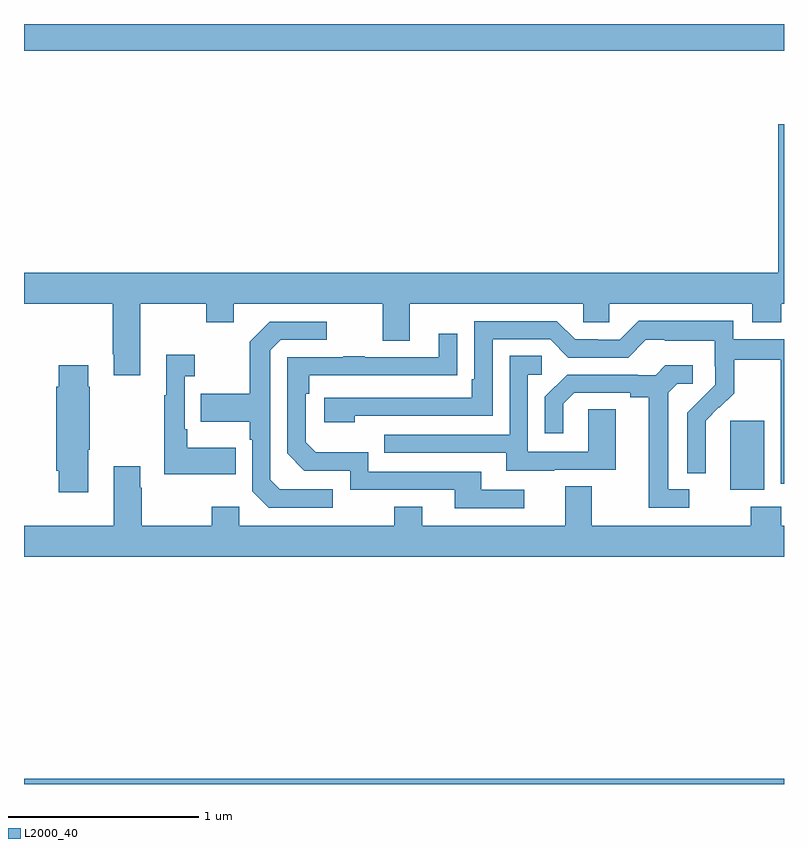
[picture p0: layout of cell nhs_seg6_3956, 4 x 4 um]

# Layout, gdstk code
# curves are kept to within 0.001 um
import gdstk
lib = gdstk.Library(unit=1e-6, precision=1e-09)
def R(c, l, rs):  # rectangles x0, y0, x1, y1
    for r in rs: c.add(gdstk.rectangle(r[:2], r[2:], *l))
def P(c, l, *ps):  # polygons
    for p in ps: c.add(gdstk.Polygon(p, *l))
L2000_40 = (2000, 40)

nhs_seg6_3956 = lib.new_cell('nhs_seg6_3956')
R(nhs_seg6_3956, L2000_40, [(345,919.5,349,919.528), (348.716,921.05,348.895,921.411), (345,923.36,349,923.5)])
P(nhs_seg6_3956, L2000_40, [(345,922.028),(345.466,922.028),(345.466,921.763),(345.473,921.763),(345.473,921.651),(345.613,921.651),(345.613,922.028),(345.958,922.028),(345.958,921.929),(346.105,921.929),(346.105,922.028),(346.889,922.028),(346.889,921.834),(347.029,921.834),(347.029,922.028),(347.943,922.028),(347.943,921.93),(348.081,921.93),(348.081,922.028),(348.833,922.028),(348.833,921.929),(348.986,921.929),(348.986,922.028),(349,922.028),(349,922.972),(348.971,922.972),(348.971,922.192),(345,922.192)],
  [(349,921.84),(348.732,921.84),(348.732,921.937),(348.235,921.937),(348.135,921.837),(348.02,921.837),(348.02,921.84),(347.901,921.84),(347.805,921.936),(347.37,921.936),(347.37,921.631),(347.357,921.631),(347.357,921.534),(346.581,921.534),(346.581,921.404),(346.742,921.404),(346.742,921.438),(347.466,921.438),(347.466,921.84),(347.769,921.84),(347.865,921.744),(348.18,921.744),(348.273,921.837),(348.373,921.837),(348.373,921.833),(348.636,921.833),(348.636,921.699),(348.638,921.699),(348.638,921.602),(348.492,921.454),(348.492,921.136),(348.588,921.136),(348.587,921.413),(348.657,921.483),(348.66,921.48),(348.737,921.557),(348.737,921.732),(348.982,921.732),(348.982,921.508),(348.984,921.508),(348.984,921.079),(349,921.079)],
  [(346.624,921.051),(346.347,921.051),(346.296,921.102),(346.296,921.783),(346.35,921.837),(346.594,921.837),(346.594,921.933),(346.293,921.933),(346.188,921.827),(346.188,921.555),(345.931,921.555),(345.931,921.407),(346.188,921.407),(346.188,921.311),(346.2,921.311),(346.2,921.042),(346.287,920.955),(346.624,920.955)],
  [(347.632,921.048),(347.407,921.048),(347.407,921.144),(346.812,921.144),(346.812,921.247),(346.535,921.247),(346.482,921.3),(346.482,921.554),(346.502,921.554),(346.502,921.651),(347.279,921.652),(347.279,921.871),(347.183,921.871),(347.183,921.747),(346.793,921.747),(346.793,921.752),(346.681,921.752),(346.681,921.747),(346.386,921.747),(346.386,921.24),(346.476,921.15),(346.716,921.15),(346.716,921.048),(347.267,921.048),(347.267,920.952),(347.632,920.952)],
  [(346.115,921.271),(345.859,921.271),(345.859,921.367),(345.846,921.367),(345.846,921.647),(345.898,921.647),(345.898,921.76),(345.749,921.76),(345.749,921.547),(345.738,921.547),(345.738,921.131),(346.115,921.131)],
  [(347.791,921.153),(348.115,921.153),(348.115,921.473),(347.97,921.473),(347.97,921.249),(347.652,921.249),(347.652,921.654),(347.725,921.654),(347.725,921.755),(347.556,921.755),(347.556,921.339),(346.897,921.339),(346.897,921.243),(347.537,921.243),(347.537,921.149),(347.791,921.149)],
  [(348.502,921.051),(348.391,921.051),(348.391,921.559),(348.438,921.606),(348.52,921.606),(348.52,921.703),(348.376,921.703),(348.324,921.651),(348.23,921.651),(348.23,921.654),(347.858,921.654),(347.742,921.538),(347.742,921.345),(347.839,921.345),(347.839,921.501),(347.896,921.558),(348.191,921.558),(348.191,921.536),(348.287,921.536),(348.287,920.955),(348.502,920.955)],
  [(345.337,921.259),(345.345,921.259),(345.345,921.59),(345.337,921.59),(345.337,921.703),(345.182,921.703),(345.182,921.59),(345.17,921.59),(345.17,921.148),(345.182,921.148),(345.182,921.036),(345.337,921.036)],
  [(345.988,920.959),(345.988,920.86),(345.621,920.86),(345.621,921.059),(345.613,921.059),(345.613,921.172),(345.473,921.172),(345.473,920.86),(345,920.86),(345,920.696),(349,920.696),(349,920.86),(348.986,920.86),(348.986,920.959),(348.826,920.959),(348.826,920.86),(347.989,920.86),(347.989,921.068),(347.849,921.068),(347.849,920.86),(347.095,920.86),(347.095,920.959),(346.948,920.959),(346.948,920.86),(346.134,920.86),(346.134,920.959)])

lib.write_gds('nhs_seg6_3956.gds')
